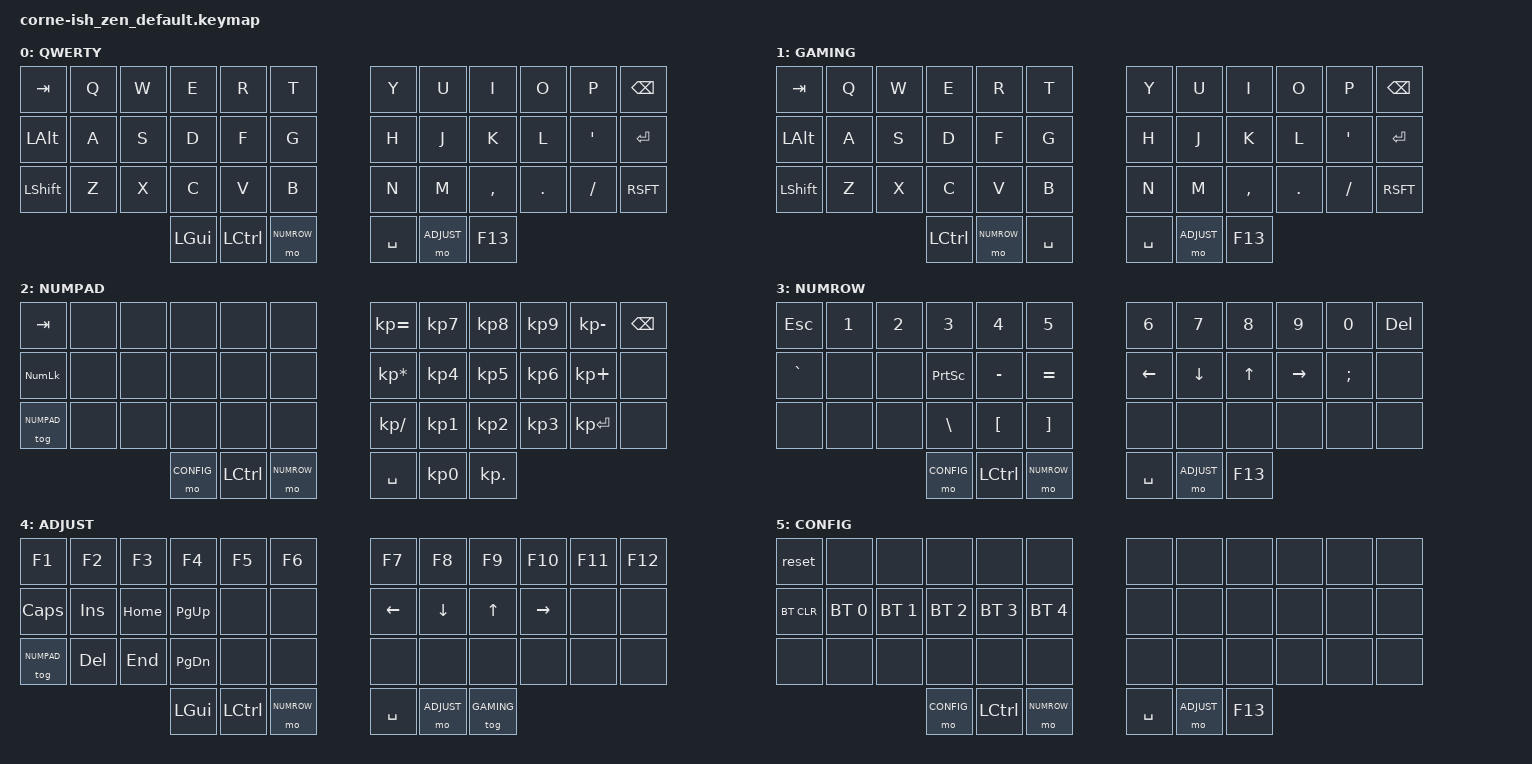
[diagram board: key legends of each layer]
/*
*
* Copyright (c) 2021 lowprokb.ca
* SPDX-License-Identifier: MIT
*
*/

#include <behaviors.dtsi>
#include <dt-bindings/zmk/keys.h>
#include <dt-bindings/zmk/bt.h>

#define QWERTY 0
#define GAMING 1
#define NUMPAD 2
#define NUMROW 3
#define ADJUST 4
#define CONFIG 5

/*
Mac         -- Win key conversions
CTRL        -- CTRL
OPTION      -- WIN(GUI)
CMD (GUI)   -- ALT
*/

/ {
        keymap {
                compatible = "zmk,keymap";

                default_layer {
                        label = "QWERTY";

// GUI: WIN on Windows, CMD on MacOS
// -----------------------------------------------------------------------------------------
// |  TAB  |   Q   |   W   |   E   |   R   |   T   |       |   Y   |   U   |   I   |   O   |   P   |  BKSP |
// |  ALT  |   A   |   S   |   D   |   F   |   G   |       |   H   |   J   |   K   |   L   |   '   |  ENT  |
// |  SHFT |   Z   |   X   |   C   |   V   |   B   |       |   N   |   M   |   ,   |   .   |   /   |  RSFT |
//                         |  GUI  |  CTL  | NUMROW|       | SPACE | ADJUST|  F13  |
                        bindings = <
   &kp TAB   &kp Q &kp W &kp E &kp R &kp T    &kp Y &kp U &kp I    &kp O   &kp P    &kp BKSP
   &kp LALT  &kp A &kp S &kp D &kp F &kp G    &kp H &kp J &kp K    &kp L   &kp QUOT &kp ENTER
   &kp LSHFT &kp Z &kp X &kp C &kp V &kp B    &kp N &kp M &kp CMMA &kp DOT &kp FSLH &kp RSFT
              &kp LGUI &kp LCTL &mo NUMROW    &kp SPC &mo ADJUST &kp F13
                        >;
                };

                gaming_layer {
                        label = "GAMING";

// -----------------------------------------------------------------------------------------
// |  TAB  |   Q   |   W   |   E   |   R   |   T   |       |   Y   |   U   |   I   |   O   |   P   |  BKSP |
// |  ALT  |   A   |   S   |   D   |   F   |   G   |       |   H   |   J   |   K   |   L   |   '   |  ENT  |
// |  SHFT |   Z   |   X   |   C   |   V   |   B   |       |   N   |   M   |   ,   |   .   |   /   |  RSFT |
//                         |  CTL  | NUMROW| SPACE |       | SPACE | ADJUST|  F13  |
                        bindings = <
   &kp TAB   &kp Q &kp W &kp E &kp R &kp T    &kp Y &kp U &kp I    &kp O   &kp P    &kp BKSP
   &kp LALT  &kp A &kp S &kp D &kp F &kp G    &kp H &kp J &kp K    &kp L   &kp QUOT &kp ENTER
   &kp LSHFT &kp Z &kp X &kp C &kp V &kp B    &kp N &kp M &kp CMMA &kp DOT &kp FSLH &kp RSFT
               &kp LCTL &mo NUMROW &kp SPC    &kp SPC &mo ADJUST &kp F13
                        >;
                };

                numpad_layer {
                        label = "NUMPAD";

// -----------------------------------------------------------------------------------------
// |  TAB  |       |       |       |       |       |       |   =   |   7   |   8   |   9   |   -   |  BKSP |
// | NUMLCK|       |       |       |       |       |       |   *   |   4   |   5   |   6   |   +   |       |
// | NUMPAD|       |       |       |       |       |       |   /   |   1   |   2   |   3   |  ENT  |       |
//                         | CONFIG|  CTL  | NUMROW|       | SPACE |   0   |   .   |
                        bindings = < 
   &kp TAB     &none &none &none &none &none    &kp KP_EQUAL    &kp KP_N7 &kp KP_N8 &kp KP_N9 &kp KP_MINUS &kp BSPC
   &kp KP_NLCK &none &none &none &none &none    &kp KP_ASTERISK &kp KP_N4 &kp KP_N5 &kp KP_N6 &kp KP_PLUS  &none
   &tog NUMPAD &none &none &none &none &none    &kp KP_SLASH    &kp KP_N1 &kp KP_N2 &kp KP_N3 &kp KP_ENTER &none
              &mo CONFIG &kp LCTL &mo NUMROW    &kp SPC &kp KP_N0 &kp KP_DOT
                        >;
                };

                numrow_layer {
                        label = "NUMROW";

// -----------------------------------------------------------------------------------------
// |  ESC  |   1   |   2   |   3   |   4   |   5   |       |   6   |   7   |   8   |   9   |   0   |  DEL  |
// | GRAVE |   A   |   S   | PSCRN |   -   |   =   |       |   ←   |   ↓   |   ↑   |   →   |   ;   |       |
// |       |       |       |   \   |   [   |   ]   |       |       |       |       |       |       |       |
//                         | CONFIG|  CTL  | NUMROW|       | SPACE | ADJUST|  F13  |
                        bindings = <
   &kp ESC   &kp N1 &kp N2 &kp N3    &kp N4    &kp N5       &kp N6   &kp N7   &kp N8 &kp N9    &kp N0   &kp DEL
   &kp GRAVE &none  &none  &kp PSCRN &kp MINUS &kp EQUAL    &kp LEFT &kp DOWN &kp UP &kp RIGHT &kp SEMI &none
   &none     &none  &none  &kp BSLH  &kp LBKT  &kp RBKT     &none    &none    &none  &none     &none    &none 
                          &mo CONFIG &kp LCTL &mo NUMROW    &kp SPC &mo ADJUST &kp F13
                        >;
                };

                adjust_layer {
                        label = "ADJUST";

// -----------------------------------------------------------------------------------------
// | RESET |   1   |   2   |   3   |   4   |   5   |       |   6   |   7   |   8   |   9   |   0   |  DEL  |
// | BT_CLR|  BT0  |  BT1  |  BT2  |  BT3  |  BT4  |       |       |       |       |       |       |       |
// |       |       |       |       |       |       |       |       |       |       |       |       |       |
//                         |  GUI  |  CTL  | NUMROW|       | SPACE | ADJUST| GAMING|
                        bindings = <
   &kp F1      &kp F2  &kp F3   &kp F4    &kp F5 &kp F6    &kp F7   &kp F8   &kp F9 &kp F10   &kp F11 &kp F12
   &kp CAPS    &kp INS &kp HOME &kp PG_UP &none  &none     &kp LEFT &kp DOWN &kp UP &kp RIGHT &none   &none
   &tog NUMPAD &kp DEL &kp END  &kp PG_DN &none  &none     &none    &none    &none  &none     &none   &none
                           &kp LGUI &kp LCTL &mo NUMROW    &kp SPC &mo ADJUST &tog GAMING
                        >;
                };

                config_layer {
                        label = "CONFIG";

// RESET: reset keyboard firmware
// BT_CLR: clear the currently selected bluetooth profile
// BT0-4: select bluetooth device 0-4
// -----------------------------------------------------------------------------------------
// | RESET |   1   |   2   |   3   |   4   |   5   |       |   6   |   7   |   8   |   9   |   0   |  DEL  |
// | BT_CLR|  BT0  |  BT1  |  BT2  |  BT3  |  BT4  |       |       |       |       |       |       |       |
// |       |       |       |       |       |       |       |       |       |       |       |       |       |
//                         | CONFIG|  CTL  | NUMROW|       | SPACE | ADJUST|  F13  |
                        bindings = <
   &reset     &none        &none        &none        &none        &none           &none &none &none &none &none &none 
   &bt BT_CLR &bt BT_SEL 0 &bt BT_SEL 1 &bt BT_SEL 2 &bt BT_SEL 3 &bt BT_SEL 4    &none &none &none &none &none &none
   &none      &none        &none        &none        &none        &none           &none &none &none &none &none &none
                                                &mo CONFIG &kp LCTL &mo NUMROW    &kp SPC &mo ADJUST &kp F13
                        >;
                };
        };
};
